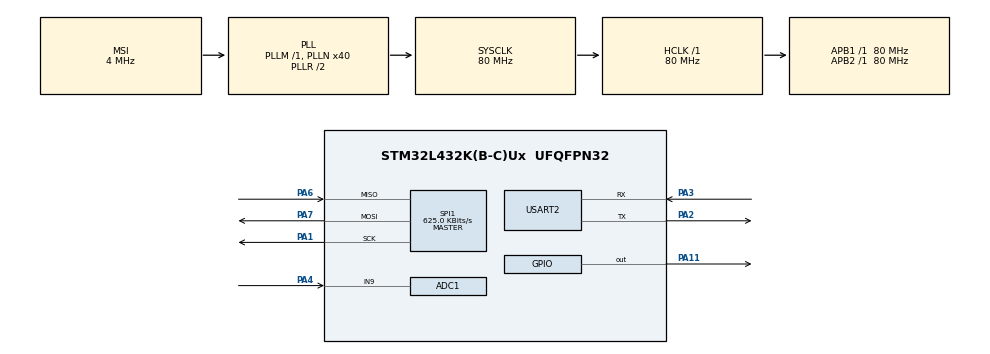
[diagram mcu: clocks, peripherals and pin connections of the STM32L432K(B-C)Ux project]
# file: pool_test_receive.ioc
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ADC1.Channel-1\#ChannelRegularConversion=ADC_CHANNEL_9
ADC1.ClockPrescaler=ADC_CLOCK_ASYNC_DIV1
ADC1.DMAContinuousRequests=ENABLE
ADC1.ExternalTrigConv=ADC_EXTERNALTRIG_T2_TRGO
ADC1.NbrOfConversionFlag=1
ADC1.OffsetNumber-1\#ChannelRegularConversion=ADC_OFFSET_NONE
ADC1.Rank-1\#ChannelRegularConversion=1
ADC1.Resolution=ADC_RESOLUTION_12B
ADC1.SamplingTime-1\#ChannelRegularConversion=ADC_SAMPLETIME_247CYCLES_5
ADC1.master=1
Dma.ADC1.0.Direction=DMA_PERIPH_TO_MEMORY
Dma.ADC1.0.Instance=DMA1_Channel1
Dma.ADC1.0.MemDataAlignment=DMA_MDATAALIGN_HALFWORD
Dma.ADC1.0.MemInc=DMA_MINC_ENABLE
Dma.ADC1.0.Mode=DMA_CIRCULAR
Dma.ADC1.0.PeriphDataAlignment=DMA_PDATAALIGN_HALFWORD
Dma.ADC1.0.PeriphInc=DMA_PINC_DISABLE
Dma.ADC1.0.Priority=DMA_PRIORITY_LOW
Dma.Request0=ADC1
FATFS._MAX_SS=4096
FATFS._USE_LFN=1
Mcu.Family=STM32L4
Mcu.Name=STM32L432K(B-C)Ux
Mcu.Package=UFQFPN32
NVIC.ADC1_IRQn=true\:0\:0\:false\:false\:true\:true\:true\:true
NVIC.DMA1_Channel1_IRQn=true\:0\:0\:false\:false\:true\:false\:true\:true
NVIC.PriorityGroup=NVIC_PRIORITYGROUP_4
NVIC.SPI1_IRQn=true\:0\:0\:false\:false\:true\:true\:true\:true
NVIC.TIM2_IRQn=true\:0\:0\:false\:false\:true\:true\:true\:true
PA0.Mode=HSE-External-Clock-Source-for-LittleOrca
PA0.Signal=RCC_CK_IN
PA1.Mode=Full_Duplex_Master
PA1.Signal=SPI1_SCK
PA11.Signal=GPIO_Output
PA13\ (JTMS-SWDIO).Mode=Serial_Wire
PA13\ (JTMS-SWDIO).Signal=SYS_JTMS-SWDIO
PA14\ (JTCK-SWCLK).Mode=Serial_Wire
PA14\ (JTCK-SWCLK).Signal=SYS_JTCK-SWCLK
PA2.Mode=Asynchronous
PA2.Signal=USART2_TX
PA3.Mode=Asynchronous
PA3.Signal=USART2_RX
PA4.Signal=ADCx_IN9
PA6.Mode=Full_Duplex_Master
PA6.Signal=SPI1_MISO
PA7.Mode=Full_Duplex_Master
PA7.Signal=SPI1_MOSI
ProjectManager.HeapSize=0x200
ProjectManager.StackSize=0x400
ProjectManager.TargetToolchain=STM32CubeIDE
RCC.ADCFreq_Value=32000000
RCC.AHBFreq_Value=80000000
RCC.APB1Freq_Value=80000000
RCC.APB1TimFreq_Value=80000000
RCC.APB2Freq_Value=80000000
RCC.APB2TimFreq_Value=80000000
RCC.CortexFreq_Value=80000000
RCC.HCLKFreq_Value=80000000
RCC.HSE_VALUE=8000000
RCC.HSI16_VALUE=16000000
RCC.HSI48_VALUE=48000000
RCC.HSI_VALUE=16000000
RCC.LSE_VALUE=32768
RCC.MSI_VALUE=4000000
RCC.PLLMUL=RCC_PLLMUL_4
RCC.PLLN=40
RCC.PLLSAI1N=16
RCC.SYSCLKFreq_VALUE=80000000
RCC.SYSCLKSource=RCC_SYSCLKSOURCE_PLLCLK
RCC.USBFreq_Value=32000000
RCC.VCOOutputFreq_Value=160000000
SH.ADCx_IN9.0=ADC1_IN9,IN9-Single-Ended
SPI1.BaudRatePrescaler=SPI_BAUDRATEPRESCALER_128
SPI1.CalculateBaudRate=625.0 KBits/s
SPI1.DataSize=SPI_DATASIZE_8BIT
SPI1.Direction=SPI_DIRECTION_2LINES
SPI1.Mode=SPI_MODE_MASTER
SPI1.VirtualType=VM_MASTER
TIM2.Channel-PWM\ Generation1\ No\ Output=TIM_CHANNEL_1
TIM2.Period=50-1
TIM2.Prescaler=40-1
TIM2.TIM_MasterOutputTrigger=TIM_TRGO_UPDATE
USART2.VirtualMode-Asynchronous=VM_ASYNC
VP_FATFS_VS_Generic.Mode=User_defined
VP_TIM2_VS_ClockSourceINT.Mode=Internal
VP_TIM2_VS_no_output1.Mode=PWM Generation1 No Output
board=NUCLEO-L432KC

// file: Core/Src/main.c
/* USER CODE BEGIN Header */
/**
 ******************************************************************************
 * @file           : main.c
 * @brief          : Main program body
 ******************************************************************************
 * @attention
 *
 * Copyright (c) 2023 STMicroelectronics.
 * All rights reserved.
 *
 * This software is licensed under terms that can be found in the LICENSE file
 * in the root directory of this software component.
 * If no LICENSE file comes with this software, it is provided AS-IS.
 *
 ******************************************************************************
 */
/* USER CODE END Header */
#include "main.h"
#include "fatfs.h"

/* USER CODE BEGIN Includes */
#include <string.h>
#include <stdio.h>
#include <stdlib.h>
#include <math.h>
#define ARM_MATH_CM4
#include "arm_math.h"
#include "main.h"
/* USER CODE END Includes */

/* USER CODE BEGIN PM */
#define UINT16_TO_FLOAT 0.00001525878f
#define INT16_TO_FLOAT 0.00003051757f
#define FLOAT_TO_INT16 32768.0f
#define BUFFER_SIZE 256
#define FFT_BUFFER_SIZE 1024
#define SAMPLE_RATE_HZ 40000
#define ZERO_FREQ 2968
#define ONE_FREQ 2500
/* USER CODE END PM */

ADC_HandleTypeDef hadc1;
DMA_HandleTypeDef hdma_adc1;

SPI_HandleTypeDef hspi1;

TIM_HandleTypeDef htim2;

UART_HandleTypeDef huart2;

/* USER CODE BEGIN PV */
volatile uint16_t buffer[BUFFER_SIZE];
volatile uint8_t halfFlag = 0;
volatile uint8_t fullFlag = 0;

arm_rfft_fast_instance_f32 fftHandler;

float fftBufIn[FFT_BUFFER_SIZE];
float32_t fftBufOut[FFT_BUFFER_SIZE];
float32_t fftMagOut[FFT_BUFFER_SIZE / 2];
volatile int16_t fftIndex = 0;

volatile float peakVal = 0.0f;
volatile uint16_t peakHz = 0;

volatile int zeroCount = 0;
volatile int oneCount = 0;
/* USER CODE END PV */

void SystemClock_Config(void);
static void MX_GPIO_Init(void);
static void MX_DMA_Init(void);
static void MX_TIM2_Init(void);
static void MX_ADC1_Init(void);
static void MX_USART2_UART_Init(void);
static void MX_SPI1_Init(void);
/* USER CODE BEGIN PFP */
void process_data(int start, int end);
void bit_detect(int freq);
void receive_bit(int bit, int amount);
#define PUTCHAR_PROTOTYPE int __io_putchar(int ch)
/* USER CODE END PFP */

int main(void) {

	/* MCU Configuration--------------------------------------------------------*/

	/* Reset of all peripherals, Initializes the Flash interface and the Systick. */
	HAL_Init();

	/* Configure the system clock */
	SystemClock_Config();

	/* Initialize all configured peripherals */
	MX_GPIO_Init();
	MX_DMA_Init();
	MX_TIM2_Init();
	MX_ADC1_Init();
	MX_FATFS_Init();
	MX_USART2_UART_Init();
	MX_SPI1_Init();
	/* USER CODE BEGIN 2 */

	arm_rfft_fast_init_f32(&fftHandler, FFT_BUFFER_SIZE);
	HAL_ADCEx_Calibration_Start(&hadc1, ADC_SINGLE_ENDED);
	HAL_ADC_Start_DMA(&hadc1, (uint32_t*) buffer, BUFFER_SIZE);
	HAL_TIM_Base_Start_IT(&htim2);
	/*

	 FATFS *FatFs;                //Fatfs handle
	 FIL fil;                  //File handle
	 FRESULT fres;                 //Result after operations

	 do {
	 FatFs = malloc(sizeof(FATFS));

	 //Mount the SD Card
	 fres = f_mount(FatFs, "", 0);    //1=mount now
	 if (fres != FR_OK) {
	 printf("Mount Failed\n\r");
	 break;
	 }

	 HAL_Delay(1000);

	 //Open the file
	 fres = f_open(&fil, "output.txt",
	 FA_OPEN_APPEND | FA_WRITE);
	 if (fres != FR_OK) {
	 printf("File Not Opened\n\r");
	 break;
	 }

	 //write the data
	 f_puts("0", &fil);
	 f_puts("1", &fil);
	 f_puts("0", &fil);
	 f_puts("1", &fil);
	 f_puts("0", &fil);
	 f_puts("1", &fil);

	 //close your file
	 f_close(&fil);
	 printf("File Closed");

	 } while (0);

	 //We're done, so de-mount the drive
	 f_mount(NULL, "", 0);

	 free(FatFs);
	 */
	/* USER CODE END 2 */

	/* Infinite loop */
	/* USER CODE BEGIN WHILE */
	while (1) {
		if (halfFlag) {
			process_data(0, BUFFER_SIZE / 2);
			halfFlag = 0;
		}
		if (fullFlag) {
			process_data(BUFFER_SIZE / 2, BUFFER_SIZE);
			fullFlag = 0;
		}
		/* USER CODE END WHILE */

	}
}

void SystemClock_Config(void) {
	RCC_OscInitTypeDef RCC_OscInitStruct = { 0 };
	RCC_ClkInitTypeDef RCC_ClkInitStruct = { 0 };

	/** Configure the main internal regulator output voltage
	 */
	if (HAL_PWREx_ControlVoltageScaling(PWR_REGULATOR_VOLTAGE_SCALE1)
			!= HAL_OK) {
		Error_Handler();
	}

	/** Initializes the RCC Oscillators according to the specified parameters
	 * in the RCC_OscInitTypeDef structure.
	 */
	RCC_OscInitStruct.OscillatorType = RCC_OSCILLATORTYPE_MSI;
	RCC_OscInitStruct.MSIState = RCC_MSI_ON;
	RCC_OscInitStruct.MSICalibrationValue = 0;
	RCC_OscInitStruct.MSIClockRange = RCC_MSIRANGE_6;
	RCC_OscInitStruct.PLL.PLLState = RCC_PLL_ON;
	RCC_OscInitStruct.PLL.PLLSource = RCC_PLLSOURCE_MSI;
	RCC_OscInitStruct.PLL.PLLM = 1;
	RCC_OscInitStruct.PLL.PLLN = 40;
	RCC_OscInitStruct.PLL.PLLP = RCC_PLLP_DIV7;
	RCC_OscInitStruct.PLL.PLLQ = RCC_PLLQ_DIV2;
	RCC_OscInitStruct.PLL.PLLR = RCC_PLLR_DIV2;
	if (HAL_RCC_OscConfig(&RCC_OscInitStruct) != HAL_OK) {
		Error_Handler();
	}

	/** Initializes the CPU, AHB and APB buses clocks
	 */
	RCC_ClkInitStruct.ClockType = RCC_CLOCKTYPE_HCLK | RCC_CLOCKTYPE_SYSCLK
			| RCC_CLOCKTYPE_PCLK1 | RCC_CLOCKTYPE_PCLK2;
	RCC_ClkInitStruct.SYSCLKSource = RCC_SYSCLKSOURCE_PLLCLK;
	RCC_ClkInitStruct.AHBCLKDivider = RCC_SYSCLK_DIV1;
	RCC_ClkInitStruct.APB1CLKDivider = RCC_HCLK_DIV1;
	RCC_ClkInitStruct.APB2CLKDivider = RCC_HCLK_DIV1;

	if (HAL_RCC_ClockConfig(&RCC_ClkInitStruct, FLASH_LATENCY_4) != HAL_OK) {
		Error_Handler();
	}
}

static void MX_ADC1_Init(void) {

	ADC_ChannelConfTypeDef sConfig = { 0 };

	/** Common config
	 */
	hadc1.Instance = ADC1;
	hadc1.Init.ClockPrescaler = ADC_CLOCK_ASYNC_DIV1;
	hadc1.Init.Resolution = ADC_RESOLUTION_12B;
	hadc1.Init.DataAlign = ADC_DATAALIGN_RIGHT;
	hadc1.Init.ScanConvMode = ADC_SCAN_DISABLE;
	hadc1.Init.EOCSelection = ADC_EOC_SINGLE_CONV;
	hadc1.Init.LowPowerAutoWait = DISABLE;
	hadc1.Init.ContinuousConvMode = DISABLE;
	hadc1.Init.NbrOfConversion = 1;
	hadc1.Init.DiscontinuousConvMode = DISABLE;
	hadc1.Init.ExternalTrigConv = ADC_EXTERNALTRIG_T2_TRGO;
	hadc1.Init.ExternalTrigConvEdge = ADC_EXTERNALTRIGCONVEDGE_RISING;
	hadc1.Init.DMAContinuousRequests = ENABLE;
	hadc1.Init.Overrun = ADC_OVR_DATA_PRESERVED;
	hadc1.Init.OversamplingMode = DISABLE;
	if (HAL_ADC_Init(&hadc1) != HAL_OK) {
		Error_Handler();
	}

	/** Configure Regular Channel
	 */
	sConfig.Channel = ADC_CHANNEL_9;
	sConfig.Rank = ADC_REGULAR_RANK_1;
	sConfig.SamplingTime = ADC_SAMPLETIME_247CYCLES_5;
	sConfig.SingleDiff = ADC_SINGLE_ENDED;
	sConfig.OffsetNumber = ADC_OFFSET_NONE;
	sConfig.Offset = 0;
	if (HAL_ADC_ConfigChannel(&hadc1, &sConfig) != HAL_OK) {
		Error_Handler();
	}

}

static void MX_SPI1_Init(void) {

	/* SPI1 parameter configuration*/
	hspi1.Instance = SPI1;
	hspi1.Init.Mode = SPI_MODE_MASTER;
	hspi1.Init.Direction = SPI_DIRECTION_2LINES;
	hspi1.Init.DataSize = SPI_DATASIZE_8BIT;
	hspi1.Init.CLKPolarity = SPI_POLARITY_LOW;
	hspi1.Init.CLKPhase = SPI_PHASE_1EDGE;
	hspi1.Init.NSS = SPI_NSS_SOFT;
	hspi1.Init.BaudRatePrescaler = SPI_BAUDRATEPRESCALER_128;
	hspi1.Init.FirstBit = SPI_FIRSTBIT_MSB;
	hspi1.Init.TIMode = SPI_TIMODE_DISABLE;
	hspi1.Init.CRCCalculation = SPI_CRCCALCULATION_DISABLE;
	hspi1.Init.CRCPolynomial = 7;
	hspi1.Init.CRCLength = SPI_CRC_LENGTH_DATASIZE;
	hspi1.Init.NSSPMode = SPI_NSS_PULSE_ENABLE;
	if (HAL_SPI_Init(&hspi1) != HAL_OK) {
		Error_Handler();
	}

}

static void MX_TIM2_Init(void) {

	TIM_ClockConfigTypeDef sClockSourceConfig = { 0 };
	TIM_MasterConfigTypeDef sMasterConfig = { 0 };
	TIM_OC_InitTypeDef sConfigOC = { 0 };

	htim2.Instance = TIM2;
	htim2.Init.Prescaler = 40 - 1;
	htim2.Init.CounterMode = TIM_COUNTERMODE_UP;
	htim2.Init.Period = 50 - 1;
	htim2.Init.ClockDivision = TIM_CLOCKDIVISION_DIV1;
	htim2.Init.AutoReloadPreload = TIM_AUTORELOAD_PRELOAD_DISABLE;
	if (HAL_TIM_Base_Init(&htim2) != HAL_OK) {
		Error_Handler();
	}
	sClockSourceConfig.ClockSource = TIM_CLOCKSOURCE_INTERNAL;
	if (HAL_TIM_ConfigClockSource(&htim2, &sClockSourceConfig) != HAL_OK) {
		Error_Handler();
	}
	if (HAL_TIM_PWM_Init(&htim2) != HAL_OK) {
		Error_Handler();
	}
	sMasterConfig.MasterOutputTrigger = TIM_TRGO_UPDATE;
	sMasterConfig.MasterSlaveMode = TIM_MASTERSLAVEMODE_DISABLE;
	if (HAL_TIMEx_MasterConfigSynchronization(&htim2, &sMasterConfig)
			!= HAL_OK) {
		Error_Handler();
	}
	sConfigOC.OCMode = TIM_OCMODE_PWM1;
	sConfigOC.Pulse = 0;
	sConfigOC.OCPolarity = TIM_OCPOLARITY_HIGH;
	sConfigOC.OCFastMode = TIM_OCFAST_DISABLE;
	if (HAL_TIM_PWM_ConfigChannel(&htim2, &sConfigOC, TIM_CHANNEL_1)
			!= HAL_OK) {
		Error_Handler();
	}

}

static void MX_USART2_UART_Init(void) {

	huart2.Instance = USART2;
	huart2.Init.BaudRate = 115200;
	huart2.Init.WordLength = UART_WORDLENGTH_8B;
	huart2.Init.StopBits = UART_STOPBITS_1;
	huart2.Init.Parity = UART_PARITY_NONE;
	huart2.Init.Mode = UART_MODE_TX_RX;
	huart2.Init.HwFlowCtl = UART_HWCONTROL_NONE;
	huart2.Init.OverSampling = UART_OVERSAMPLING_16;
	huart2.Init.OneBitSampling = UART_ONE_BIT_SAMPLE_DISABLE;
	huart2.AdvancedInit.AdvFeatureInit = UART_ADVFEATURE_NO_INIT;
	if (HAL_UART_Init(&huart2) != HAL_OK) {
		Error_Handler();
	}

}

static void MX_DMA_Init(void) {

	/* DMA controller clock enable */
	__HAL_RCC_DMA1_CLK_ENABLE();

	/* DMA interrupt init */
	/* DMA1_Channel1_IRQn interrupt configuration */
	HAL_NVIC_SetPriority(DMA1_Channel1_IRQn, 0, 0);
	HAL_NVIC_EnableIRQ(DMA1_Channel1_IRQn);

}

static void MX_GPIO_Init(void) {
	GPIO_InitTypeDef GPIO_InitStruct = { 0 };

	/* GPIO Ports Clock Enable */
	__HAL_RCC_GPIOA_CLK_ENABLE();

	/*Configure GPIO pin Output Level */
	HAL_GPIO_WritePin(GPIOA, GPIO_PIN_11, GPIO_PIN_RESET);

	/*Configure GPIO pin : PA11 */
	GPIO_InitStruct.Pin = GPIO_PIN_11;
	GPIO_InitStruct.Mode = GPIO_MODE_OUTPUT_PP;
	GPIO_InitStruct.Pull = GPIO_NOPULL;
	GPIO_InitStruct.Speed = GPIO_SPEED_FREQ_LOW;
	HAL_GPIO_Init(GPIOA, &GPIO_InitStruct);

}

/* USER CODE BEGIN 4 */
void receive_bit(int bit, int amount) {
	if (amount == 0) {
		return;
	}
	for (int count = 0; count < round(amount / 28); count++) {
		/*
		 FATFS *FatFs;                //Fatfs handle
		 FIL fil;                  //File handle
		 FRESULT fres;                 //Result after operations

		 do {
		 FatFs = malloc(sizeof(FATFS));

		 //Mount the SD Card
		 fres = f_mount(FatFs, "", 0);    //1=mount now
		 if (fres != FR_OK) {
		 break;
		 }

		 //Open the file
		 fres = f_open(&fil, "output.txt",
		 FA_OPEN_APPEND | FA_WRITE);
		 if (fres != FR_OK) {
		 break;
		 }

		 //write the data
		 if (bit == 0) {
		 f_puts("0", &fil);
		 } else if (bit == 1) {
		 f_puts("1", &fil);
		 }
		 //close your file
		 f_close(&fil);

		 } while (0);

		 //We're done, so de-mount the drive
		 f_mount(NULL, "", 0);

		 free(FatFs);
		 */
		if (bit == 0) {
			printf("0");
		} else if (bit == 1) {
			printf("1");
		}
	}
	return;
}

void bit_detect(int freq) {
	if (freq > ONE_FREQ - 50 && freq < ONE_FREQ + 50) {
		oneCount++;
	} else {
		receive_bit(1, oneCount);
		oneCount = 0;
	}
	if (freq > ZERO_FREQ - 50 && freq < ZERO_FREQ + 50) {
		zeroCount++;
	} else {
		receive_bit(0, zeroCount);
		zeroCount = 0;
	}
	return;
}

void process_data(int start, int end) {
	float in;

	for (uint8_t count = start; count < end; count++) {
// Convert to float
		in = INT16_TO_FLOAT * ((float) buffer[count]);

// Fill FFT Buffer
		fftBufIn[fftIndex] = in;
		fftIndex++;

		if (fftIndex == FFT_BUFFER_SIZE) {
			// Perform FFT
			arm_rfft_fast_f32(&fftHandler, fftBufIn, fftBufOut, 0);
			arm_cmplx_mag_f32(fftBufOut, fftMagOut, FFT_BUFFER_SIZE / 2);

			peakVal = 0.0f;
			peakHz = 0.0f;

			for (uint16_t index = 1; index < FFT_BUFFER_SIZE / 8; index++) {

				if (fftMagOut[index] > peakVal) {
					peakVal = fftMagOut[index];
					peakHz = (uint16_t) (index * SAMPLE_RATE_HZ
							/ ((float) FFT_BUFFER_SIZE));
				}
			}
			//printf("%d\n\r", (int) peakHz);
			bit_detect(peakHz);

			// Reset FFT array index;
			fftIndex = 0;
		}
	}
	return;
}

// Called when first half of buffer is filled
void HAL_ADC_ConvHalfCpltCallback(ADC_HandleTypeDef *hadc) {
	halfFlag = 1;
}

// Called when buffer is completely filled
void HAL_ADC_ConvCpltCallback(ADC_HandleTypeDef *hadc) {
	fullFlag = 1;
}

void HAL_TIM_PeriodElapsedCallback(TIM_HandleTypeDef *htim) {
}

PUTCHAR_PROTOTYPE {
	/* Place your implementation of fputc here */
	/* e.g. write a character to the USART1 and Loop until the end of transmission */
	HAL_UART_Transmit(&huart2, (uint8_t*) &ch, 1, 0xFFFF);

	return ch;
}

/* USER CODE END 4 */

void Error_Handler(void) {
	__disable_irq();
	while (1) {
	}
}
